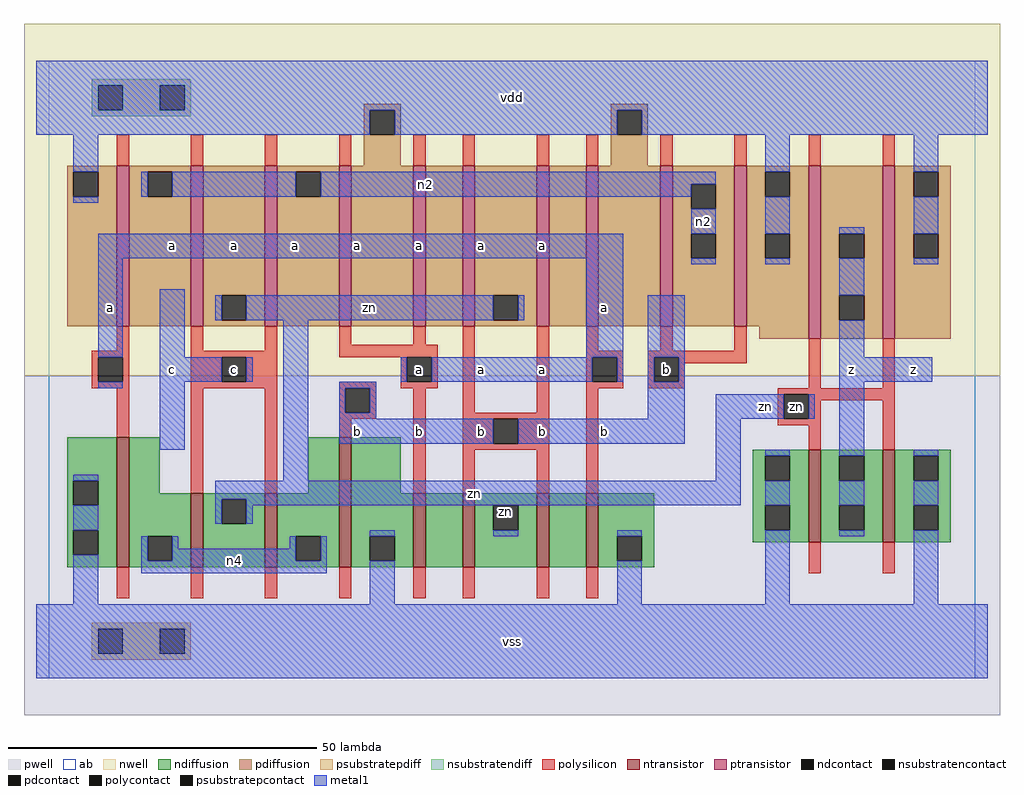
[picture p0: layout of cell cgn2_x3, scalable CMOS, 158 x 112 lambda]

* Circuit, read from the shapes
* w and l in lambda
.subckt cgn2_x3 a b c n2 n4 vdd vss z zn
M1 n4 a vss vss nfet w=21 l=2
M2 zn c n4 vss nfet w=12 l=2 m=2
M3 vss b n4 vss nfet w=21 l=2
M4 n1 a vss vss nfet w=12 l=2
M5 zn b n1 vss nfet w=12 l=2
M6 n3 b zn vss nfet w=12 l=2
M7 vss a n3 vss nfet w=12 l=2
M8 z zn vss vss nfet w=15 l=2 m=2
M9 n2 a vdd vdd pfet w=26 l=2 m=2
M10 zn c n2 vdd pfet w=26 l=2 m=2
M11 n5 a vdd vdd pfet w=26 l=2
M12 zn b n5 vdd pfet w=26 l=2
M13 n6 b zn vdd pfet w=26 l=2
M14 vdd a n6 vdd pfet w=26 l=2
M15 n2 b vdd vdd pfet w=26 l=2 m=2
M16 z zn vdd vdd pfet w=28 l=2 m=2
.ends

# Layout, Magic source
magic
tech scmos
<< ab >>
rect 0 0 150 100
<< pwell >>
rect -4 -6 154 49
<< nwell >>
rect -4 49 154 106
<< polysilicon >>
rect 11 83 13 88
rect 23 83 25 88
rect 35 83 37 88
rect 47 83 49 88
rect 59 83 61 88
rect 67 83 69 88
rect 79 83 81 88
rect 87 83 89 88
rect 99 83 101 88
rect 111 83 113 88
rect 123 83 125 88
rect 135 83 137 88
rect 11 53 13 57
rect 7 52 13 53
rect 7 48 8 52
rect 12 48 13 52
rect 7 47 13 48
rect 11 39 13 47
rect 23 53 25 57
rect 35 53 37 57
rect 23 52 37 53
rect 47 54 49 57
rect 59 54 61 57
rect 47 52 63 54
rect 23 48 28 52
rect 32 48 37 52
rect 57 48 58 52
rect 62 48 63 52
rect 23 47 37 48
rect 23 30 25 47
rect 35 30 37 47
rect 47 47 53 48
rect 57 47 63 48
rect 47 43 48 47
rect 52 43 53 47
rect 47 42 53 43
rect 47 39 49 42
rect 59 30 61 47
rect 67 43 69 57
rect 79 43 81 57
rect 67 42 81 43
rect 67 38 72 42
rect 76 38 81 42
rect 67 37 81 38
rect 67 30 69 37
rect 79 30 81 37
rect 87 53 89 57
rect 99 53 101 57
rect 111 53 113 57
rect 87 52 93 53
rect 87 48 88 52
rect 92 48 93 52
rect 87 47 93 48
rect 97 52 113 53
rect 97 48 98 52
rect 102 51 113 52
rect 102 48 103 51
rect 97 47 103 48
rect 123 47 125 55
rect 135 47 137 55
rect 87 30 89 47
rect 118 46 137 47
rect 118 42 119 46
rect 123 45 137 46
rect 123 42 125 45
rect 118 41 125 42
rect 123 37 125 41
rect 135 37 137 45
rect 11 13 13 18
rect 23 13 25 18
rect 35 13 37 18
rect 47 13 49 18
rect 59 13 61 18
rect 67 13 69 18
rect 79 13 81 18
rect 87 13 89 18
rect 123 17 125 22
rect 135 17 137 22
<< ndiffusion >>
rect 3 32 11 39
rect 3 28 4 32
rect 8 28 11 32
rect 3 24 11 28
rect 3 20 4 24
rect 8 20 11 24
rect 3 18 11 20
rect 13 30 18 39
rect 42 30 47 39
rect 13 23 23 30
rect 13 19 16 23
rect 20 19 23 23
rect 13 18 23 19
rect 25 29 35 30
rect 25 25 28 29
rect 32 25 35 29
rect 25 18 35 25
rect 37 23 47 30
rect 37 19 40 23
rect 44 19 47 23
rect 37 18 47 19
rect 49 30 57 39
rect 114 36 123 37
rect 114 32 116 36
rect 120 32 123 36
rect 49 23 59 30
rect 49 19 52 23
rect 56 19 59 23
rect 49 18 59 19
rect 61 18 67 30
rect 69 28 79 30
rect 69 24 72 28
rect 76 24 79 28
rect 69 18 79 24
rect 81 18 87 30
rect 89 23 98 30
rect 89 19 92 23
rect 96 19 98 23
rect 114 28 123 32
rect 114 24 116 28
rect 120 24 123 28
rect 114 22 123 24
rect 125 36 135 37
rect 125 32 128 36
rect 132 32 135 36
rect 125 28 135 32
rect 125 24 128 28
rect 132 24 135 28
rect 125 22 135 24
rect 137 36 146 37
rect 137 32 140 36
rect 144 32 146 36
rect 137 28 146 32
rect 137 24 140 28
rect 144 24 146 28
rect 137 22 146 24
rect 89 18 98 19
<< pdiffusion >>
rect 51 92 57 93
rect 51 88 52 92
rect 56 88 57 92
rect 91 92 97 93
rect 91 88 92 92
rect 96 88 97 92
rect 51 83 57 88
rect 91 83 97 88
rect 3 82 11 83
rect 3 78 4 82
rect 8 78 11 82
rect 3 57 11 78
rect 13 82 23 83
rect 13 78 16 82
rect 20 78 23 82
rect 13 57 23 78
rect 25 62 35 83
rect 25 58 28 62
rect 32 58 35 62
rect 25 57 35 58
rect 37 82 47 83
rect 37 78 40 82
rect 44 78 47 82
rect 37 57 47 78
rect 49 57 59 83
rect 61 57 67 83
rect 69 62 79 83
rect 69 58 72 62
rect 76 58 79 62
rect 69 57 79 58
rect 81 57 87 83
rect 89 57 99 83
rect 101 80 111 83
rect 101 76 104 80
rect 108 76 111 80
rect 101 72 111 76
rect 101 68 104 72
rect 108 68 111 72
rect 101 57 111 68
rect 113 82 123 83
rect 113 78 116 82
rect 120 78 123 82
rect 113 72 123 78
rect 113 68 116 72
rect 120 68 123 72
rect 113 57 123 68
rect 115 55 123 57
rect 125 72 135 83
rect 125 68 128 72
rect 132 68 135 72
rect 125 62 135 68
rect 125 58 128 62
rect 132 58 135 62
rect 125 55 135 58
rect 137 82 146 83
rect 137 78 140 82
rect 144 78 146 82
rect 137 72 146 78
rect 137 68 140 72
rect 144 68 146 72
rect 137 55 146 68
<< metal1 >>
rect -2 92 152 100
rect -2 88 52 92
rect 56 88 92 92
rect 96 88 152 92
rect 4 82 8 88
rect 116 82 120 88
rect 15 78 16 82
rect 20 78 40 82
rect 44 80 108 82
rect 44 78 104 80
rect 4 77 8 78
rect 104 72 108 76
rect 8 68 93 72
rect 8 52 12 68
rect 8 47 12 48
rect 18 52 22 63
rect 27 58 28 62
rect 32 58 72 62
rect 76 58 77 62
rect 18 48 28 52
rect 32 48 33 52
rect 18 37 22 48
rect 4 32 8 33
rect 38 32 42 58
rect 87 52 93 68
rect 104 67 108 68
rect 116 72 120 78
rect 140 82 144 88
rect 116 67 120 68
rect 128 72 132 73
rect 128 62 132 68
rect 140 72 144 78
rect 140 67 144 68
rect 57 48 58 52
rect 62 48 88 52
rect 92 48 93 52
rect 97 52 103 62
rect 97 48 98 52
rect 102 48 103 52
rect 47 47 53 48
rect 47 43 48 47
rect 52 43 53 47
rect 47 42 53 43
rect 97 42 103 48
rect 128 52 132 58
rect 128 48 143 52
rect 47 38 72 42
rect 76 38 103 42
rect 108 42 119 46
rect 123 42 124 46
rect 108 32 112 42
rect 4 24 8 28
rect 27 29 112 32
rect 27 25 28 29
rect 32 28 112 29
rect 116 36 120 37
rect 116 28 120 32
rect 32 25 33 28
rect 52 23 56 24
rect 72 23 76 24
rect 92 23 96 24
rect 4 12 8 20
rect 15 19 16 23
rect 20 21 21 23
rect 39 21 40 23
rect 20 19 40 21
rect 44 19 45 23
rect 15 17 45 19
rect 52 12 56 19
rect 92 12 96 19
rect 116 12 120 24
rect 128 36 132 48
rect 128 28 132 32
rect 128 23 132 24
rect 140 36 144 37
rect 140 28 144 32
rect 140 12 144 24
rect -2 0 152 12
<< ntransistor >>
rect 11 18 13 39
rect 23 18 25 30
rect 35 18 37 30
rect 47 18 49 39
rect 59 18 61 30
rect 67 18 69 30
rect 79 18 81 30
rect 87 18 89 30
rect 123 22 125 37
rect 135 22 137 37
<< ptransistor >>
rect 11 57 13 83
rect 23 57 25 83
rect 35 57 37 83
rect 47 57 49 83
rect 59 57 61 83
rect 67 57 69 83
rect 79 57 81 83
rect 87 57 89 83
rect 99 57 101 83
rect 111 57 113 83
rect 123 55 125 83
rect 135 55 137 83
<< polycontact >>
rect 8 48 12 52
rect 28 48 32 52
rect 58 48 62 52
rect 48 43 52 47
rect 72 38 76 42
rect 88 48 92 52
rect 98 48 102 52
rect 119 42 123 46
<< ndcontact >>
rect 4 28 8 32
rect 4 20 8 24
rect 16 19 20 23
rect 28 25 32 29
rect 40 19 44 23
rect 116 32 120 36
rect 52 19 56 23
rect 72 24 76 28
rect 92 19 96 23
rect 116 24 120 28
rect 128 32 132 36
rect 128 24 132 28
rect 140 32 144 36
rect 140 24 144 28
<< pdcontact >>
rect 52 88 56 92
rect 92 88 96 92
rect 4 78 8 82
rect 16 78 20 82
rect 28 58 32 62
rect 40 78 44 82
rect 72 58 76 62
rect 104 76 108 80
rect 104 68 108 72
rect 116 78 120 82
rect 116 68 120 72
rect 128 68 132 72
rect 128 58 132 62
rect 140 78 144 82
rect 140 68 144 72
<< psubstratepcontact >>
rect 8 4 12 8
rect 18 4 22 8
<< nsubstratencontact >>
rect 8 92 12 96
rect 18 92 22 96
<< psubstratepdiff >>
rect 7 8 23 9
rect 7 4 8 8
rect 12 4 18 8
rect 22 4 23 8
rect 7 3 23 4
<< nsubstratendiff >>
rect 7 96 23 97
rect 7 92 8 96
rect 12 92 18 96
rect 22 92 23 96
rect 7 91 23 92
<< labels >>
rlabel polycontact 121 44 121 44 6 zn
rlabel metal1 20 50 20 50 6 c
rlabel metal1 20 50 20 50 6 c
rlabel metal1 10 60 10 60 6 a
rlabel metal1 10 60 10 60 6 a
rlabel metal1 20 70 20 70 6 a
rlabel metal1 20 70 20 70 6 a
rlabel metal1 30 19 30 19 6 n4
rlabel metal1 50 40 50 40 6 b
rlabel metal1 50 40 50 40 6 b
rlabel polycontact 30 50 30 50 6 c
rlabel polycontact 30 50 30 50 6 c
rlabel metal1 30 70 30 70 6 a
rlabel metal1 30 70 30 70 6 a
rlabel metal1 50 70 50 70 6 a
rlabel metal1 40 70 40 70 6 a
rlabel metal1 50 70 50 70 6 a
rlabel metal1 40 70 40 70 6 a
rlabel metal1 75 6 75 6 6 vss
rlabel metal1 75 6 75 6 6 vss
rlabel ndcontact 74 27 74 27 6 zn
rlabel metal1 80 40 80 40 6 b
rlabel metal1 70 40 70 40 6 b
rlabel metal1 70 40 70 40 6 b
rlabel metal1 80 40 80 40 6 b
rlabel metal1 60 40 60 40 6 b
rlabel metal1 60 40 60 40 6 b
rlabel polycontact 60 50 60 50 6 a
rlabel polycontact 60 50 60 50 6 a
rlabel metal1 80 50 80 50 6 a
rlabel metal1 70 50 70 50 6 a
rlabel metal1 80 50 80 50 6 a
rlabel metal1 70 50 70 50 6 a
rlabel metal1 52 60 52 60 6 zn
rlabel metal1 60 70 60 70 6 a
rlabel metal1 60 70 60 70 6 a
rlabel metal1 80 70 80 70 6 a
rlabel metal1 70 70 70 70 6 a
rlabel metal1 80 70 80 70 6 a
rlabel metal1 70 70 70 70 6 a
rlabel metal1 75 94 75 94 6 vdd
rlabel metal1 75 94 75 94 6 vdd
rlabel metal1 69 30 69 30 6 zn
rlabel metal1 90 40 90 40 6 b
rlabel metal1 90 40 90 40 6 b
rlabel polycontact 100 50 100 50 6 b
rlabel polycontact 100 50 100 50 6 b
rlabel metal1 90 60 90 60 6 a
rlabel metal1 90 60 90 60 6 a
rlabel metal1 106 74 106 74 6 n2
rlabel metal1 61 80 61 80 6 n2
rlabel metal1 116 44 116 44 6 zn
rlabel metal1 140 50 140 50 6 z
rlabel metal1 130 50 130 50 6 z
rlabel metal1 130 50 130 50 6 z
rlabel metal1 140 50 140 50 6 z
<< end >>
